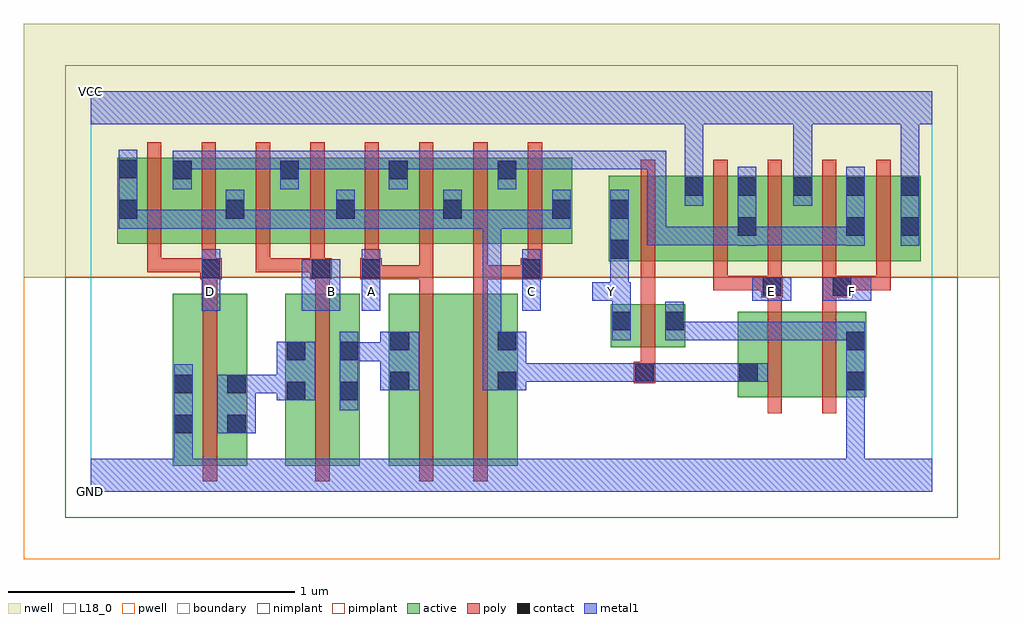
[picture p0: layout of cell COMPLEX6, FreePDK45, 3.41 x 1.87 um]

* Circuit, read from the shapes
.subckt COMPLEX6 A B C D E F GND VCC Y
M1 n1 D GND VSUBS nfet w=0.6u l=0.05u
M2 n2 B n1 VSUBS nfet w=0.6u l=0.05u
M3 n3 A n2 VSUBS nfet w=0.6u l=0.05u
M4 n4 C n3 VSUBS nfet w=0.6u l=0.05u
M5 GND n4 Y VSUBS nfet w=0.15u l=0.05u
M6 n5 E n4 VSUBS nfet w=0.3u l=0.05u
M7 GND F n5 VSUBS nfet w=0.3u l=0.05u
M8 n6 D n4 n7 pfet w=0.3u l=0.05u m=2
M9 n6 B n4 n7 pfet w=0.3u l=0.05u m=2
M10 n6 A n4 n7 pfet w=0.3u l=0.05u m=2
M11 n6 C n4 n7 pfet w=0.3u l=0.05u m=2
M12 VCC n4 Y n7 pfet w=0.3u l=0.05u
M13 n6 E VCC n7 pfet w=0.3u l=0.05u m=2
M14 n6 F VCC n7 pfet w=0.3u l=0.05u m=2
.ends

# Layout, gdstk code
import gdstk
lib = gdstk.Library(unit=1e-6, precision=1e-09)
def R(c, l, rs):  # rectangles x0, y0, x1, y1
    for r in rs: c.add(gdstk.rectangle(r[:2], r[2:], *l))
def A(c, l, x, y, w, h, nx, ny, dx, dy):  # array of equal rectangles
    R(c, l, [(x+i*dx, y+j*dy, x+i*dx+w, y+j*dy+h) for i in range(nx) for j in range(ny)])
active = (1, 0)
pwell = (2, 0)
nwell = (3, 0)
nimplant = (4, 0)
pimplant = (5, 0)
poly = (9, 0)
contact = (10, 0)
metal1 = (11, 0)
L18_0 = (18, 0)
boundary = (235, 0)

complex6 = lib.new_cell('COMPLEX6')
A(complex6, active, 1.037, 0.867, 0.265, 0.3, 3, 1, 0.19, 0)
R(complex6, active, [(0.287,0.092,0.547,0.692), (0.68,0.092,0.94,0.692), (1.042,0.092,1.267,0.692), (1.267,0.092,1.492,0.692), (0.287,0.095,0.362,0.692), (0.472,0.095,0.547,0.692), (0.68,0.095,0.755,0.692), (0.865,0.095,0.94,0.692), (1.042,0.095,1.147,0.692), (1.417,0.095,1.492,0.692), (2.26,0.33,2.335,0.63), (2.26,0.33,2.485,0.63), (2.485,0.33,2.71,0.63), (2.635,0.33,2.71,0.63), (1.817,0.505,1.892,0.655), (1.817,0.505,2.077,0.655), (2.002,0.505,2.077,0.655), (1.81,0.805,2.145,1.105), (2.07,0.805,2.33,1.105), (2.255,0.805,2.33,1.105), (2.255,0.805,2.525,1.105), (2.45,0.805,2.71,1.105), (2.635,0.805,2.71,1.105), (2.635,0.805,2.9,1.105), (2.825,0.805,2.9,1.105), (1.81,0.81,1.885,1.07), (0.092,0.867,0.167,1.167), (0.092,0.867,0.357,1.167), (0.282,0.867,0.542,1.167), (0.467,0.867,0.732,1.167), (0.657,0.867,0.927,1.167), (0.852,0.867,1.112,1.167), (0.467,0.95,0.542,1.07), (0.852,0.95,0.927,1.07), (1.227,0.95,1.302,1.07), (1.607,0.95,1.682,1.07), (0.657,0.995,0.732,1.167), (1.037,0.995,1.112,1.162), (1.417,0.995,1.492,1.167), (0.282,1.002,0.357,1.167), (2.07,1.007,2.145,1.105), (2.45,1.007,2.525,1.105)])
R(complex6, pwell, [(-0.235,-0.235,3.175,0.75)])
R(complex6, nwell, [(-0.235,0.75,3.175,1.635)])
R(complex6, nimplant, [(-0.09,-0.09,3.03,0.75)])
R(complex6, pimplant, [(-0.09,0.75,3.03,1.49)])
A(complex6, poly, 2.175, 0.705, 0.05, 0.095, 4, 1, 0.19, 0)
A(complex6, poly, 2.175, 0.75, 0.05, 0.41, 4, 1, 0.19, 0)
A(complex6, poly, 0.197, 0.767, 0.05, 0.095, 5, 1, 0.19, 0)
A(complex6, poly, 0.197, 0.812, 0.05, 0.41, 8, 1, 0.19, 0)
R(complex6, poly, [(0.392,0.037,0.442,0.747), (0.785,0.037,0.835,0.747), (1.147,0.037,1.197,0.747), (1.337,0.037,1.387,0.747), (2.365,0.275,2.415,0.685), (2.555,0.275,2.605,0.685), (1.897,0.38,1.972,0.455), (1.922,0.405,1.972,0.5), (1.922,0.45,1.972,0.71), (2.365,0.635,2.415,0.73), (2.555,0.635,2.605,0.73), (1.922,0.66,1.972,0.755), (2.342,0.68,2.417,0.755), (2.555,0.68,2.662,0.755), (0.392,0.697,0.442,0.792), (0.785,0.697,0.835,0.792), (1.147,0.697,1.197,0.792), (1.337,0.697,1.387,0.792), (1.922,0.705,1.972,0.8), (1.922,0.705,1.972,0.755), (2.175,0.705,2.225,0.755), (2.175,0.705,2.392,0.755), (2.342,0.705,2.392,0.755), (2.342,0.705,2.392,0.755), (2.612,0.705,2.795,0.755), (2.745,0.705,2.795,0.755), (2.745,0.705,2.795,0.755), (2.745,0.705,2.795,0.755), (0.382,0.742,0.457,0.817), (0.767,0.742,0.842,0.817), (0.942,0.742,1.017,0.817), (0.967,0.742,1.197,0.792), (1.147,0.742,1.197,0.792), (1.147,0.742,1.197,0.792), (1.147,0.742,1.197,0.792), (1.147,0.742,1.197,0.862), (1.337,0.742,1.387,0.792), (1.337,0.742,1.387,0.792), (1.337,0.742,1.387,0.792), (1.337,0.742,1.552,0.792), (1.337,0.742,1.387,0.862), (1.502,0.742,1.577,0.817), (1.922,0.75,1.972,1.16), (0.197,0.767,0.247,0.817), (0.197,0.767,0.432,0.817), (0.382,0.767,0.432,0.817), (0.382,0.767,0.432,0.817), (0.577,0.767,0.627,0.817), (0.577,0.767,0.627,0.817), (0.577,0.767,0.627,0.817), (0.577,0.767,0.817,0.817), (1.527,0.767,1.577,0.862)])
A(complex6, contact, 0.662, 1.092, 0.065, 0.065, 3, 1, 0.38, 0)
R(complex6, contact, [(0.292,0.205,0.357,0.27), (0.477,0.205,0.542,0.27), (0.685,0.32,0.75,0.385), (0.87,0.32,0.935,0.385), (0.292,0.345,0.357,0.41), (0.477,0.345,0.542,0.41), (1.047,0.355,1.112,0.42), (1.422,0.355,1.487,0.42), (2.64,0.355,2.705,0.42), (1.902,0.385,1.967,0.45), (2.265,0.385,2.33,0.45), (0.685,0.46,0.75,0.525), (0.87,0.46,0.935,0.525), (1.047,0.495,1.112,0.56), (1.422,0.495,1.487,0.56), (2.64,0.495,2.705,0.56), (1.822,0.565,1.887,0.63), (2.007,0.565,2.072,0.63), (2.347,0.685,2.412,0.75), (2.592,0.685,2.657,0.75), (0.387,0.747,0.452,0.812), (0.772,0.747,0.837,0.812), (0.947,0.747,1.012,0.812), (1.507,0.747,1.572,0.812), (1.815,0.815,1.88,0.88), (2.26,0.895,2.325,0.96), (2.64,0.895,2.705,0.96), (2.83,0.895,2.895,0.96), (0.097,0.955,0.162,1.02), (0.472,0.955,0.537,1.02), (0.857,0.955,0.922,1.02), (1.232,0.955,1.297,1.02), (1.612,0.955,1.677,1.02), (1.815,0.955,1.88,1.02), (2.075,1.035,2.14,1.1), (2.26,1.035,2.325,1.1), (2.455,1.035,2.52,1.1), (2.64,1.035,2.705,1.1), (2.83,1.035,2.895,1.1), (0.287,1.092,0.352,1.157), (0.097,1.095,0.162,1.16)])
A(complex6, metal1, 0.387, 0.632, 0.065, 0.215, 3, 1, 0.56, 0)
A(complex6, metal1, 0.662, 1.057, 0.065, 0.135, 3, 1, 0.38, 0)
R(complex6, metal1, [(0,0,2.94,0.115), (0.292,0.05,0.357,0.235), (2.64,0.05,2.705,0.115), (2.64,0.05,2.705,0.115), (2.64,0.05,2.705,0.115), (2.64,0.05,2.705,0.115), (2.64,0.05,2.705,0.385), (0.292,0.17,0.357,0.445), (0.442,0.205,0.577,0.41), (0.87,0.285,0.935,0.56), (0.65,0.32,0.785,0.525), (2.64,0.32,2.705,0.595), (0.512,0.345,0.577,0.41), (0.512,0.345,0.577,0.41), (0.512,0.345,0.715,0.41), (1.012,0.355,1.147,0.56), (1.37,0.355,1.522,0.56), (1.457,0.385,1.522,0.45), (1.457,0.385,1.522,0.45), (1.457,0.385,1.68,0.45), (1.615,0.385,1.68,0.45), (1.615,0.385,1.68,0.45), (1.615,0.385,1.68,0.45), (1.615,0.385,1.68,0.45), (1.615,0.385,1.68,0.45), (1.615,0.385,1.68,0.45), (1.615,0.385,1.68,0.45), (1.615,0.385,1.932,0.45), (1.867,0.385,2.002,0.45), (1.937,0.385,2.002,0.45), (1.937,0.385,2.002,0.45), (1.937,0.385,2.24,0.45), (2.175,0.385,2.24,0.45), (2.175,0.385,2.295,0.45), (2.23,0.385,2.365,0.45), (0.87,0.457,0.935,0.522), (0.87,0.457,0.935,0.522), (0.87,0.457,1.077,0.522), (1.37,0.495,1.435,0.56), (1.37,0.495,1.435,0.56), (1.37,0.495,1.435,0.985), (1.822,0.53,1.887,0.665), (2.007,0.53,2.072,0.665), (2.007,0.53,2.21,0.595), (2.145,0.53,2.21,0.595), (2.145,0.53,2.21,0.595), (2.145,0.53,2.21,0.595), (2.145,0.53,2.485,0.595), (2.42,0.53,2.485,0.595), (2.42,0.53,2.485,0.595), (2.42,0.53,2.485,0.595), (2.42,0.53,2.705,0.595), (2.64,0.53,2.705,0.595), (2.64,0.53,2.705,0.595), (2.64,0.53,2.705,0.595), (2.64,0.53,2.705,0.595), (2.64,0.53,2.705,0.595), (2.64,0.53,2.705,0.595), (1.822,0.6,1.887,0.732), (0.737,0.632,0.872,0.812), (1.752,0.667,1.887,0.732), (1.815,0.667,1.88,0.845), (2.312,0.667,2.447,0.75), (2.557,0.667,2.727,0.75), (1.815,0.78,1.88,1.055), (2.26,0.86,2.325,1.135), (2.64,0.86,2.705,1.135), (2.83,0.86,2.895,1.135), (1.945,0.862,2.025,0.927), (1.945,0.862,2.01,1.192), (1.96,0.862,2.025,0.927), (1.96,0.862,2.025,0.927), (1.96,0.862,2.025,0.927), (1.96,0.862,2.147,0.927), (2.082,0.862,2.147,0.927), (2.082,0.862,2.325,0.927), (2.26,0.862,2.462,0.927), (2.397,0.862,2.462,0.927), (2.397,0.862,2.462,0.927), (2.397,0.862,2.462,0.927), (2.397,0.862,2.705,0.927), (2.64,0.862,2.705,0.927), (2.64,0.862,2.705,0.927), (0.097,0.92,0.162,0.985), (0.097,0.92,0.162,0.985), (0.097,0.92,0.162,1.195), (0.097,0.92,0.37,0.985), (0.305,0.92,0.37,0.985), (0.305,0.92,0.37,0.985), (0.305,0.92,0.37,0.985), (0.305,0.92,0.537,0.985), (0.472,0.92,0.537,0.985), (0.472,0.92,0.537,0.985), (0.472,0.92,0.537,1.055), (0.472,0.92,0.715,0.985), (0.65,0.92,0.715,0.985), (0.65,0.92,0.715,0.985), (0.65,0.92,0.715,0.985), (0.65,0.92,0.922,0.985), (0.857,0.92,0.922,0.985), (0.857,0.92,0.922,0.985), (0.857,0.92,0.922,1.055), (0.857,0.92,1.16,0.985), (1.095,0.92,1.16,0.985), (1.095,0.92,1.16,0.985), (1.095,0.92,1.16,0.985), (1.095,0.92,1.297,0.985), (1.232,0.92,1.297,0.985), (1.232,0.92,1.297,0.985), (1.232,0.92,1.297,1.055), (1.232,0.92,1.435,0.985), (1.37,0.92,1.435,0.985), (1.37,0.92,1.435,0.985), (1.37,0.92,1.435,0.985), (1.37,0.92,1.677,0.985), (1.612,0.92,1.677,1.055), (2.075,1,2.14,1.135), (2.455,1,2.52,1.135), (0.287,1.057,0.352,1.192), (2.075,1.07,2.14,1.35), (2.455,1.07,2.52,1.135), (2.455,1.07,2.52,1.135), (2.455,1.07,2.52,1.35), (2.83,1.07,2.895,1.135), (2.83,1.07,2.895,1.135), (2.83,1.07,2.895,1.35), (0.287,1.127,0.352,1.192), (0.287,1.127,0.352,1.192), (0.287,1.127,0.577,1.192), (0.512,1.127,0.577,1.192), (0.512,1.127,0.577,1.192), (0.512,1.127,0.577,1.192), (0.512,1.127,0.727,1.192), (0.662,1.127,0.727,1.192), (0.662,1.127,0.727,1.192), (0.662,1.127,0.94,1.192), (0.875,1.127,0.94,1.192), (0.875,1.127,0.94,1.192), (0.875,1.127,0.94,1.192), (0.875,1.127,1.107,1.192), (1.042,1.127,1.107,1.192), (1.042,1.127,1.107,1.192), (1.042,1.127,1.297,1.192), (1.232,1.127,1.297,1.192), (1.232,1.127,1.297,1.192), (1.232,1.127,1.297,1.192), (1.232,1.127,1.487,1.192), (1.422,1.127,1.487,1.192), (1.422,1.127,1.487,1.192), (1.422,1.127,1.795,1.192), (1.73,1.127,1.795,1.192), (1.73,1.127,1.795,1.192), (1.73,1.127,1.795,1.192), (1.73,1.127,2.01,1.192), (0,1.285,2.94,1.4), (2.075,1.285,2.14,1.35), (2.075,1.285,2.14,1.35)])
A(complex6, L18_0, 0.387, 0.632, 0.065, 0.215, 3, 1, 0.56, 0)
R(complex6, L18_0, [(0,0,2.94,0.115), (0.292,0.05,0.357,0.235), (2.64,0.05,2.705,0.115), (2.64,0.05,2.705,0.115), (2.64,0.05,2.705,0.115), (2.64,0.05,2.705,0.115), (2.64,0.05,2.705,0.385), (0.292,0.17,0.357,0.445), (2.64,0.32,2.705,0.595), (1.822,0.53,1.887,0.665), (2.007,0.53,2.072,0.665), (2.007,0.53,2.21,0.595), (2.145,0.53,2.21,0.595), (2.145,0.53,2.21,0.595), (2.145,0.53,2.21,0.595), (2.145,0.53,2.485,0.595), (2.42,0.53,2.485,0.595), (2.42,0.53,2.485,0.595), (2.42,0.53,2.485,0.595), (2.42,0.53,2.705,0.595), (2.64,0.53,2.705,0.595), (2.64,0.53,2.705,0.595), (2.64,0.53,2.705,0.595), (2.64,0.53,2.705,0.595), (2.64,0.53,2.705,0.595), (2.64,0.53,2.705,0.595), (1.822,0.6,1.887,0.732), (0.737,0.632,0.872,0.812), (0.387,0.667,0.452,0.732), (0.807,0.667,0.872,0.732), (0.947,0.667,1.012,0.732), (1.507,0.667,1.572,0.732), (1.752,0.667,1.887,0.732), (1.787,0.667,1.852,0.732), (1.815,0.667,1.88,0.845), (2.312,0.667,2.447,0.75), (2.347,0.667,2.412,0.732), (2.557,0.667,2.727,0.75), (2.627,0.667,2.692,0.732), (1.815,0.78,1.88,1.055), (2.83,0.86,2.895,1.135), (2.075,1,2.14,1.135), (2.455,1,2.52,1.135), (2.075,1.07,2.14,1.35), (2.455,1.07,2.52,1.135), (2.455,1.07,2.52,1.135), (2.455,1.07,2.52,1.35), (2.83,1.07,2.895,1.135), (2.83,1.07,2.895,1.135), (2.83,1.07,2.895,1.35), (0,1.285,2.94,1.4), (2.075,1.285,2.14,1.35), (2.075,1.285,2.14,1.35)])
R(complex6, boundary, [(0,0,2.94,1.4)])
complex6.add(gdstk.Label('A', (0.98,0.7), layer=11, texttype=0))
complex6.add(gdstk.Label('B', (0.84,0.7), layer=11, texttype=0))
complex6.add(gdstk.Label('C', (1.54,0.7), layer=11, texttype=0))
complex6.add(gdstk.Label('D', (0.42,0.7), layer=11, texttype=0))
complex6.add(gdstk.Label('E', (2.38,0.7), layer=11, texttype=0))
complex6.add(gdstk.Label('F', (2.66,0.7), layer=11, texttype=0))
complex6.add(gdstk.Label('Y', (1.82,0.7), layer=11, texttype=0))
complex6.add(gdstk.Label('VCC', (0,1.4), layer=11, texttype=0))
complex6.add(gdstk.Label('GND', (0,0), layer=11, texttype=0))

lib.write_gds('COMPLEX6.gds')
